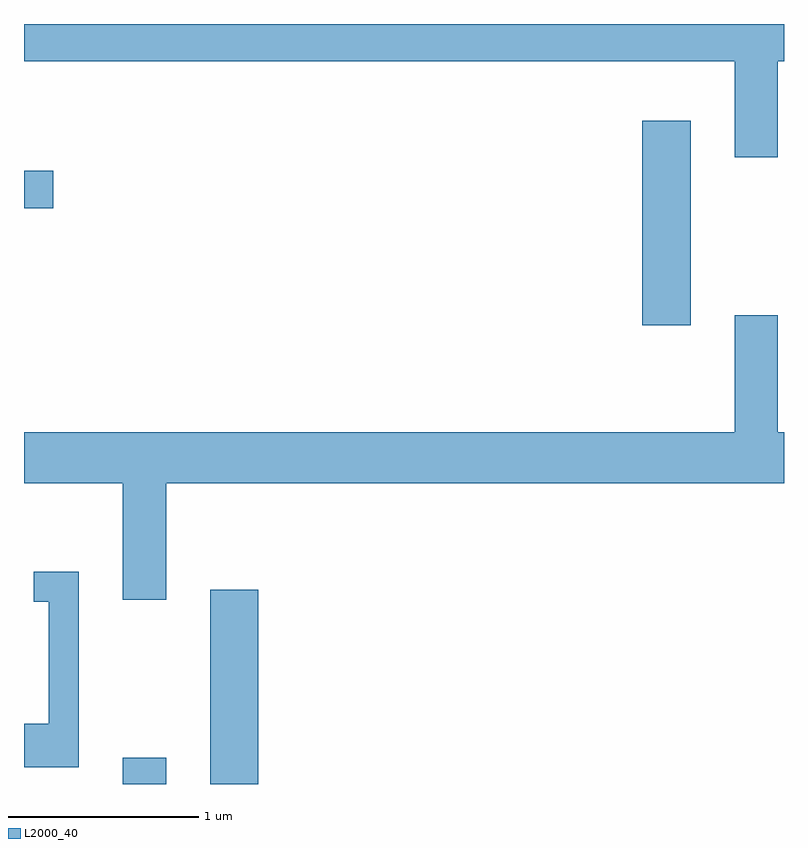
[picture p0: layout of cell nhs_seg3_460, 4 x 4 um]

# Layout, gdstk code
import gdstk
lib = gdstk.Library(unit=1e-6, precision=1e-09)
def R(c, l, rs):  # rectangles x0, y0, x1, y1
    for r in rs: c.add(gdstk.rectangle(r[:2], r[2:], *l))
def P(c, l, *ps):  # polygons
    for p in ps: c.add(gdstk.Polygon(p, *l))
L2000_40 = (2000, 40)

nhs_seg3_460 = lib.new_cell('nhs_seg3_460')
R(nhs_seg3_460, L2000_40, [(198.131,1219.892,198.359,1220.029), (198.591,1219.892,198.844,1220.914), (200.866,1222.306,201.119,1223.384), (197.611,1222.921,197.764,1223.119)])
P(nhs_seg3_460, L2000_40, [(201.579,1223.696),(201.611,1223.696),(201.611,1223.892),(197.611,1223.892),(197.611,1223.696),(201.351,1223.696),(201.351,1223.191),(201.579,1223.191)],
  [(198.359,1221.476),(201.611,1221.476),(201.611,1221.744),(201.579,1221.744),(201.579,1222.359),(201.351,1222.359),(201.351,1221.744),(197.611,1221.744),(197.611,1221.476),(198.131,1221.476),(198.131,1220.861),(198.359,1220.861)],
  [(197.899,1221.009),(197.663,1221.009),(197.663,1220.851),(197.741,1220.851),(197.741,1220.209),(197.611,1220.209),(197.611,1219.981),(197.899,1219.981)])

lib.write_gds('nhs_seg3_460.gds')
